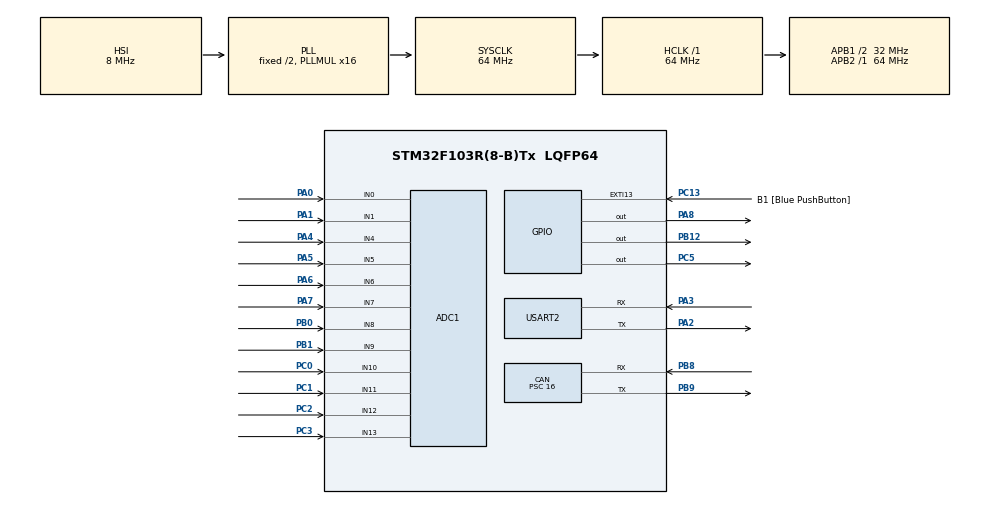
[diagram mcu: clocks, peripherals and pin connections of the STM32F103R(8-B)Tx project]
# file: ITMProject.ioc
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ADC1.Channel-1\#ChannelRegularConversion=ADC_CHANNEL_9
ADC1.Channel-10\#ChannelRegularConversion=ADC_CHANNEL_5
ADC1.Channel-11\#ChannelRegularConversion=ADC_CHANNEL_6
ADC1.Channel-12\#ChannelRegularConversion=ADC_CHANNEL_7
ADC1.Channel-2\#ChannelRegularConversion=ADC_CHANNEL_8
ADC1.Channel-3\#ChannelRegularConversion=ADC_CHANNEL_4
ADC1.Channel-4\#ChannelRegularConversion=ADC_CHANNEL_1
ADC1.Channel-5\#ChannelRegularConversion=ADC_CHANNEL_13
ADC1.Channel-6\#ChannelRegularConversion=ADC_CHANNEL_11
ADC1.Channel-7\#ChannelRegularConversion=ADC_CHANNEL_10
ADC1.Channel-8\#ChannelRegularConversion=ADC_CHANNEL_12
ADC1.Channel-9\#ChannelRegularConversion=ADC_CHANNEL_0
ADC1.ContinuousConvMode=ENABLE
ADC1.NbrOfConversion=12
ADC1.NbrOfConversionFlag=1
ADC1.Rank-1\#ChannelRegularConversion=1
ADC1.Rank-10\#ChannelRegularConversion=10
ADC1.Rank-11\#ChannelRegularConversion=11
ADC1.Rank-12\#ChannelRegularConversion=12
ADC1.Rank-2\#ChannelRegularConversion=2
ADC1.Rank-3\#ChannelRegularConversion=3
ADC1.Rank-4\#ChannelRegularConversion=4
ADC1.Rank-5\#ChannelRegularConversion=5
ADC1.Rank-6\#ChannelRegularConversion=6
ADC1.Rank-7\#ChannelRegularConversion=7
ADC1.Rank-8\#ChannelRegularConversion=8
ADC1.Rank-9\#ChannelRegularConversion=9
ADC1.SamplingTime-1\#ChannelRegularConversion=ADC_SAMPLETIME_1CYCLE_5
ADC1.SamplingTime-10\#ChannelRegularConversion=ADC_SAMPLETIME_1CYCLE_5
ADC1.SamplingTime-11\#ChannelRegularConversion=ADC_SAMPLETIME_1CYCLE_5
ADC1.SamplingTime-12\#ChannelRegularConversion=ADC_SAMPLETIME_1CYCLE_5
ADC1.SamplingTime-2\#ChannelRegularConversion=ADC_SAMPLETIME_1CYCLE_5
ADC1.SamplingTime-3\#ChannelRegularConversion=ADC_SAMPLETIME_1CYCLE_5
ADC1.SamplingTime-4\#ChannelRegularConversion=ADC_SAMPLETIME_1CYCLE_5
ADC1.SamplingTime-5\#ChannelRegularConversion=ADC_SAMPLETIME_1CYCLE_5
ADC1.SamplingTime-6\#ChannelRegularConversion=ADC_SAMPLETIME_1CYCLE_5
ADC1.SamplingTime-7\#ChannelRegularConversion=ADC_SAMPLETIME_1CYCLE_5
ADC1.SamplingTime-8\#ChannelRegularConversion=ADC_SAMPLETIME_1CYCLE_5
ADC1.SamplingTime-9\#ChannelRegularConversion=ADC_SAMPLETIME_1CYCLE_5
ADC1.master=1
CAN.ABOM=ENABLE
CAN.BS1=CAN_BS1_2TQ
CAN.CalculateBaudRate=500000
CAN.CalculateTimeBit=2000
CAN.CalculateTimeQuantum=500.0
CAN.Mode=CAN_MODE_NORMAL
CAN.Prescaler=16
Dma.ADC1.0.Direction=DMA_PERIPH_TO_MEMORY
Dma.ADC1.0.Instance=DMA1_Channel1
Dma.ADC1.0.MemDataAlignment=DMA_MDATAALIGN_WORD
Dma.ADC1.0.MemInc=DMA_MINC_ENABLE
Dma.ADC1.0.Mode=DMA_NORMAL
Dma.ADC1.0.PeriphDataAlignment=DMA_PDATAALIGN_WORD
Dma.ADC1.0.PeriphInc=DMA_PINC_DISABLE
Dma.ADC1.0.Priority=DMA_PRIORITY_LOW
Dma.Request0=ADC1
Mcu.Family=STM32F1
Mcu.Name=STM32F103R(8-B)Tx
Mcu.Package=LQFP64
NVIC.DMA1_Channel1_IRQn=true\:0\:0\:false\:false\:true\:false\:true\:true
NVIC.PriorityGroup=NVIC_PRIORITYGROUP_4
PA0-WKUP.Signal=ADCx_IN0
PA1.Signal=ADCx_IN1
PA13.GPIO_Label=TMS
PA13.Mode=Serial_Wire
PA13.Signal=SYS_JTMS-SWDIO
PA14.GPIO_Label=TCK
PA14.Mode=Serial_Wire
PA14.Signal=SYS_JTCK-SWCLK
PA2.Mode=Asynchronous
PA2.Signal=USART2_TX
PA3.Mode=Asynchronous
PA3.Signal=USART2_RX
PA4.Signal=ADCx_IN4
PA5.Signal=ADCx_IN5
PA6.Signal=ADCx_IN6
PA7.Signal=ADCx_IN7
PA8.Signal=GPIO_Output
PB0.Signal=ADCx_IN8
PB1.Signal=ADCx_IN9
PB12.GPIO_PuPd=GPIO_PULLDOWN
PB12.Signal=GPIO_Output
PB3.GPIO_Label=SWO
PB3.Signal=SYS_JTDO-TRACESWO
PB8.Mode=CAN_Activate
PB8.Signal=CAN_RX
PB9.Mode=CAN_Activate
PB9.Signal=CAN_TX
PC0.Signal=ADCx_IN10
PC1.Signal=ADCx_IN11
PC13-TAMPER-RTC.GPIO_Label=B1 [Blue PushButton]
PC13-TAMPER-RTC.GPIO_PuPd=GPIO_NOPULL
PC13-TAMPER-RTC.Signal=GPXTI13
PC14-OSC32_IN.Mode=LSE-External-Oscillator
PC14-OSC32_IN.Signal=RCC_OSC32_IN
PC15-OSC32_OUT.Mode=LSE-External-Oscillator
PC15-OSC32_OUT.Signal=RCC_OSC32_OUT
PC2.Signal=ADCx_IN12
PC3.Signal=ADCx_IN13
PC5.Signal=GPIO_Output
PD0-OSC_IN.Mode=HSE-External-Clock-Source
PD0-OSC_IN.Signal=RCC_OSC_IN
PD1-OSC_OUT.Mode=HSE-External-Clock-Source
PD1-OSC_OUT.Signal=RCC_OSC_OUT
ProjectManager.HeapSize=0x200
ProjectManager.StackSize=0x400
ProjectManager.TargetToolchain=STM32CubeIDE
RCC.ADCPresc=RCC_ADCPCLK2_DIV6
RCC.AHBFreq_Value=64000000
RCC.APB1CLKDivider=RCC_HCLK_DIV2
RCC.APB1Freq_Value=32000000
RCC.APB1TimFreq_Value=64000000
RCC.APB2Freq_Value=64000000
RCC.APB2TimFreq_Value=64000000
RCC.HCLKFreq_Value=64000000
RCC.PLLMUL=RCC_PLL_MUL16
RCC.RTCClockSelection=RCC_RTCCLKSOURCE_LSE
RCC.SYSCLKFreq_VALUE=64000000
RCC.SYSCLKSource=RCC_SYSCLKSOURCE_PLLCLK
RCC.USBFreq_Value=64000000
SH.ADCx_IN0.0=ADC1_IN0,IN0
SH.ADCx_IN1.0=ADC1_IN1,IN1
SH.ADCx_IN10.0=ADC1_IN10,IN10
SH.ADCx_IN11.0=ADC1_IN11,IN11
SH.ADCx_IN12.0=ADC1_IN12,IN12
SH.ADCx_IN13.0=ADC1_IN13,IN13
SH.ADCx_IN4.0=ADC1_IN4,IN4
SH.ADCx_IN5.0=ADC1_IN5,IN5
SH.ADCx_IN6.0=ADC1_IN6,IN6
SH.ADCx_IN7.0=ADC1_IN7,IN7
SH.ADCx_IN8.0=ADC1_IN8,IN8
SH.ADCx_IN9.0=ADC1_IN9,IN9
USART2.VirtualMode=VM_ASYNC
board=NUCLEO-F103RB

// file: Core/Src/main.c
/* USER CODE BEGIN Header */
/**
  ******************************************************************************
  * @file           : main.c
  * @brief          : Main program body
  ******************************************************************************
  * @attention
  *
  * Copyright (c) 2023 STMicroelectronics.
  * All rights reserved.
  *
  * This software is licensed under terms that can be found in the LICENSE file
  * in the root directory of this software component.
  * If no LICENSE file comes with this software, it is provided AS-IS.
  *
  ******************************************************************************
  */
/* USER CODE END Header */
#include "main.h"

ADC_HandleTypeDef hadc1;
DMA_HandleTypeDef hdma_adc1;

CAN_HandleTypeDef hcan;

UART_HandleTypeDef huart2;

/* USER CODE BEGIN PV */
CAN_TxHeaderTypeDef TxHeader_bms;
CAN_TxHeaderTypeDef TxHeader_rpi;

/* USER CODE END PV */

void SystemClock_Config(void);
static void MX_GPIO_Init(void);
static void MX_DMA_Init(void);
static void MX_USART2_UART_Init(void);
static void MX_ADC1_Init(void);
static void MX_CAN_Init(void);

int main(void)
{
  /* USER CODE BEGIN 1 */
  uint8_t TxData_bms[8] = {0};
//  uint8_t TxData_rpi[8] = {0};

  uint32_t raw_ADC_output[23] = {0};
  int16_t temperature[23] = {0};
  uint16_t error_index[23] = {0};

  uint16_t therm_count = 0;
  uint16_t therms_failed = 0;
  int16_t current_lowest_temp = HIGHEST_TEMP;
  int16_t current_highest_temp = LOWEST_TEMP;
  int16_t current_average_temp = 0;

  char msgBuffer[100] = {0};

  /* USER CODE END 1 */

  /* MCU Configuration--------------------------------------------------------*/

  /* Reset of all peripherals, Initializes the Flash interface and the Systick. */
  HAL_Init();

  /* Configure the system clock */
  SystemClock_Config();

  /* Initialize all configured peripherals */
  MX_GPIO_Init();
  MX_DMA_Init();
  MX_USART2_UART_Init();
  MX_ADC1_Init();
  MX_CAN_Init();
  /* USER CODE BEGIN 2 */
  uint32_t TxMailbox = CAN_TX_MAILBOX0;

  TxData_bms[0] = MODULE_NUMBER - 1;
  TxData_bms[4] = THERMISTORS_ENABLED;
  TxData_bms[5] = HIGHEST_THERM_ID;
  TxData_bms[6] = LOWEST_THERM_ID;
  TxData_bms[7] = CHECK_SUM;

//  TxData_rpi[0] = MODULE_NUMBER;

  /* USER CODE END 2 */

  /* Infinite loop */
  /* USER CODE BEGIN WHILE */
  while (1)
  {
	// Resetting values every loop
	current_lowest_temp = HIGHEST_TEMP;
	current_highest_temp = LOWEST_TEMP;
	current_average_temp = 0;
	therms_failed = 0;
	memset(error_index, 0, sizeof(error_index));
	HAL_GPIO_WritePin(GPIOC, GPIO_PIN_5, GPIO_PIN_RESET);

	if(HAL_GPIO_ReadPin(GPIOA, GPIO_PIN_8) == GPIO_PIN_RESET)
	{
		HAL_ADC_Start_DMA(&hadc1, raw_ADC_output, 12);
		for(int i = 0; i < 12; i++)
		{
      //Implement an IIR filter as specified in ADBMS6830 datasheet
			temperature[i] = temperature[i] + ((binary_search(raw_ADC_output[i]) - temperature[i]) / (float)FILTER_PARAMETER);
			if(temperature[i] <= -41) // Faulty thermistor
			{
				error_index[i] = 1;
				therms_failed++;
			}
			else if(temperature[i] >= 60) // Battery too hot shut car down
			{
				TxData_bms[4] = 0x80 + THERMISTORS_ENABLED;
			}
			else // Temperature in range
			{
				current_average_temp += temperature[i];
				if(temperature[i] < current_lowest_temp)
				{
					current_lowest_temp = temperature[i];
				}
				if(temperature[i] > current_highest_temp)
				{
					current_highest_temp = temperature[i];
				}
			}
			// Lines below are for testing
			memset(msgBuffer, '\0', 100);
			sprintf(msgBuffer, "ADC_read_%d: %ld temperature_%d: %d\r\n", i, raw_ADC_output[i], i, temperature[i]);
			HAL_UART_Transmit(&huart2, (uint8_t*)msgBuffer, strlen(msgBuffer), HAL_MAX_DELAY);
		}
		HAL_ADC_Stop_DMA(&hadc1);
		HAL_GPIO_WritePin(GPIOA, GPIO_PIN_8, GPIO_PIN_SET);
	}

	if(HAL_GPIO_ReadPin(GPIOA, GPIO_PIN_8) == GPIO_PIN_SET)
	{
		HAL_ADC_Start_DMA(&hadc1, &raw_ADC_output[12], 11);
		for(int i = 12; i < 23; i++)
		{
      //Implement an IIR filter as specified in ADBMS6830 datasheet
			temperature[i] = temperature[i] + ((binary_search(raw_ADC_output[i]) - temperature[i]) / (float)FILTER_PARAMETER);
			if(temperature[i] <= -41) // Faulty thermistor
			{
				therms_failed++;
				error_index[i] = 1;
			}
			else if(temperature[i] >= 60) // Battery too hot shut car down
			{
				TxData_bms[4] = 0x80 + THERMISTORS_ENABLED;
			}
			else // Temperature in range
			{
				current_average_temp += temperature[i];
				if(temperature[i] < current_lowest_temp)
				{
					current_lowest_temp = temperature[i];
				}
				if(temperature[i] > current_highest_temp)
				{
					current_highest_temp = temperature[i];
				}
			}
			// Lines below are for testing
			memset(msgBuffer, '\0', 100);
			sprintf(msgBuffer, "ADC_read_%d: %ld temperature_%d: %d\r\n", i, raw_ADC_output[i], i, temperature[i]);
			HAL_UART_Transmit(&huart2, (uint8_t*)msgBuffer, strlen(msgBuffer), HAL_MAX_DELAY);
		}
		HAL_ADC_Stop_DMA(&hadc1);
		HAL_GPIO_WritePin(GPIOA, GPIO_PIN_8, GPIO_PIN_RESET);
	}

	/*
	 * FSAE rules states you must be monitoring at least 20%
	 * of thermistors. Currently monitoring 115, if 35 of those
	 * fault due to a bad wire the car must shut down. Since 115 is
	 * split between 5 boards if one detects at least 7 then it shuts down.
	 * */
	if(therms_failed >= 7)
	{
		TxData_bms[4] = 0x80 + THERMISTORS_ENABLED;
	}

	/*
	 * THERMISTORS_ENABLED - therms_failed because discard any faulted therm values if therms
	 * failed is below 7 and only taking average of therms that are in range.
	 * */
	current_average_temp = (current_average_temp / (THERMISTORS_ENABLED - therms_failed));

	TxData_bms[1] = current_lowest_temp;
	TxData_bms[2] = current_highest_temp;
	TxData_bms[3] = current_average_temp;
	TxData_bms[7] = CHECK_SUM;

	// Completing checksum
	for (int i = 0; i < 7; i++) {
		TxData_bms[7] += TxData_bms[i];
	}

	therm_count++;
	if(therm_count == 23) {
		therm_count = 0;
	}

	if(HAL_CAN_GetTxMailboxesFreeLevel(&hcan) > 0)
	{
		if(HAL_CAN_AddTxMessage(&hcan, &TxHeader_bms, TxData_bms, &TxMailbox) != HAL_OK) {
			memset(msgBuffer, '\0', 100);
			strcat(msgBuffer, "Failed to send CAN message\r\n");
			HAL_UART_Transmit(&huart2, (uint8_t*)msgBuffer, strlen(msgBuffer), HAL_MAX_DELAY);
		}
		else {
			memset(msgBuffer, '\0', 100);
			strcat(msgBuffer, "CAN Message Sent\r\n");
			HAL_UART_Transmit(&huart2, (uint8_t*)msgBuffer, strlen(msgBuffer), HAL_MAX_DELAY);
			HAL_GPIO_WritePin(GPIOC, GPIO_PIN_5, GPIO_PIN_SET);
		}
	}

	// Messages for rpi dashboard
	// 4 messages 1: 0-5 2: 6-11 3: 12 - 17 4: 18 - 22
//	if(HAL_CAN_GetTxMailboxesFreeLevel(&hcan) > 0)
//	{
//		for (int i = 0; i < 4; i++) {
//			TxData_rpi[1] = ((MODULE_NUMBER - 1) * 23) + (i * 6);
//			TxData_rpi[2] = temperature[(i * 6)];
//			TxData_rpi[3] = temperature[(i * 6) + 1];
//			TxData_rpi[4] = temperature[(i * 6) + 2];
//			TxData_rpi[5] = temperature[(i * 6) + 3];
//			TxData_rpi[6] = temperature[(i * 6) + 4];
//			TxData_rpi[7] = temperature[(i * 6) + 5];
//			//Printing for testing purposes
//			for(int i = 0; i < 8; i++)
//			{
//				memset(msgBuffer, '\0', 100);
//				sprintf(msgBuffer, "TxData_rpi[%d] = %d\r\n", i, TxData_rpi[i]);
//				HAL_UART_Transmit(&huart2, (uint8_t*)msgBuffer, strlen(msgBuffer), HAL_MAX_DELAY);
//			}
//			if(HAL_CAN_AddTxMessage(&hcan, &TxHeader_rpi, TxData_rpi, &TxMailbox) != HAL_OK) {
//				memset(msgBuffer, '\0', 100);
//				strcat(msgBuffer, "Failed to send CAN message\r\n");
//				HAL_UART_Transmit(&huart2, (uint8_t*)msgBuffer, strlen(msgBuffer), HAL_MAX_DELAY);
//			}
//			else {
////				memset(msgBuffer, '\0', 100);
////				strcat(msgBuffer, "CAN Message Sent\r\n");
////				HAL_UART_Transmit(&huart2, (uint8_t*)msgBuffer, strlen(msgBuffer), HAL_MAX_DELAY);
//			}
//		}
//	}

	HAL_Delay(17);

    /* USER CODE END WHILE */

	}
}

void SystemClock_Config(void)
{
  RCC_OscInitTypeDef RCC_OscInitStruct = {0};
  RCC_ClkInitTypeDef RCC_ClkInitStruct = {0};
  RCC_PeriphCLKInitTypeDef PeriphClkInit = {0};

  /** Initializes the RCC Oscillators according to the specified parameters
  * in the RCC_OscInitTypeDef structure.
  */
  RCC_OscInitStruct.OscillatorType = RCC_OSCILLATORTYPE_HSI;
  RCC_OscInitStruct.HSIState = RCC_HSI_ON;
  RCC_OscInitStruct.HSICalibrationValue = RCC_HSICALIBRATION_DEFAULT;
  RCC_OscInitStruct.PLL.PLLState = RCC_PLL_ON;
  RCC_OscInitStruct.PLL.PLLSource = RCC_PLLSOURCE_HSI_DIV2;
  RCC_OscInitStruct.PLL.PLLMUL = RCC_PLL_MUL16;
  if (HAL_RCC_OscConfig(&RCC_OscInitStruct) != HAL_OK)
  {
    Error_Handler();
  }

  /** Initializes the CPU, AHB and APB buses clocks
  */
  RCC_ClkInitStruct.ClockType = RCC_CLOCKTYPE_HCLK|RCC_CLOCKTYPE_SYSCLK
                              |RCC_CLOCKTYPE_PCLK1|RCC_CLOCKTYPE_PCLK2;
  RCC_ClkInitStruct.SYSCLKSource = RCC_SYSCLKSOURCE_PLLCLK;
  RCC_ClkInitStruct.AHBCLKDivider = RCC_SYSCLK_DIV1;
  RCC_ClkInitStruct.APB1CLKDivider = RCC_HCLK_DIV2;
  RCC_ClkInitStruct.APB2CLKDivider = RCC_HCLK_DIV1;

  if (HAL_RCC_ClockConfig(&RCC_ClkInitStruct, FLASH_LATENCY_2) != HAL_OK)
  {
    Error_Handler();
  }
  PeriphClkInit.PeriphClockSelection = RCC_PERIPHCLK_ADC;
  PeriphClkInit.AdcClockSelection = RCC_ADCPCLK2_DIV6;
  if (HAL_RCCEx_PeriphCLKConfig(&PeriphClkInit) != HAL_OK)
  {
    Error_Handler();
  }
}

static void MX_ADC1_Init(void)
{

  ADC_ChannelConfTypeDef sConfig = {0};

  /** Common config
  */
  hadc1.Instance = ADC1;
  hadc1.Init.ScanConvMode = ADC_SCAN_ENABLE;
  hadc1.Init.ContinuousConvMode = ENABLE;
  hadc1.Init.DiscontinuousConvMode = DISABLE;
  hadc1.Init.ExternalTrigConv = ADC_SOFTWARE_START;
  hadc1.Init.DataAlign = ADC_DATAALIGN_RIGHT;
  hadc1.Init.NbrOfConversion = 12;
  if (HAL_ADC_Init(&hadc1) != HAL_OK)
  {
    Error_Handler();
  }

  HAL_ADCEx_Calibration_Start(&hadc1);

  /** Configure Regular Channel
  */
  sConfig.Channel = ADC_CHANNEL_9;
  sConfig.Rank = ADC_REGULAR_RANK_1;
  sConfig.SamplingTime = ADC_SAMPLETIME_1CYCLE_5;
  if (HAL_ADC_ConfigChannel(&hadc1, &sConfig) != HAL_OK)
  {
    Error_Handler();
  }

  /** Configure Regular Channel
  */
  sConfig.Channel = ADC_CHANNEL_8;
  sConfig.Rank = ADC_REGULAR_RANK_2;
  if (HAL_ADC_ConfigChannel(&hadc1, &sConfig) != HAL_OK)
  {
    Error_Handler();
  }

  /** Configure Regular Channel
  */
  sConfig.Channel = ADC_CHANNEL_4;
  sConfig.Rank = ADC_REGULAR_RANK_3;
  if (HAL_ADC_ConfigChannel(&hadc1, &sConfig) != HAL_OK)
  {
    Error_Handler();
  }

  /** Configure Regular Channel
  */
  sConfig.Channel = ADC_CHANNEL_1;
  sConfig.Rank = ADC_REGULAR_RANK_4;
  if (HAL_ADC_ConfigChannel(&hadc1, &sConfig) != HAL_OK)
  {
    Error_Handler();
  }

  /** Configure Regular Channel
  */
  sConfig.Channel = ADC_CHANNEL_13;
  sConfig.Rank = ADC_REGULAR_RANK_5;
  if (HAL_ADC_ConfigChannel(&hadc1, &sConfig) != HAL_OK)
  {
    Error_Handler();
  }

  /** Configure Regular Channel
  */
  sConfig.Channel = ADC_CHANNEL_11;
  sConfig.Rank = ADC_REGULAR_RANK_6;
  if (HAL_ADC_ConfigChannel(&hadc1, &sConfig) != HAL_OK)
  {
    Error_Handler();
  }

  /** Configure Regular Channel
  */
  sConfig.Channel = ADC_CHANNEL_10;
  sConfig.Rank = ADC_REGULAR_RANK_7;
  if (HAL_ADC_ConfigChannel(&hadc1, &sConfig) != HAL_OK)
  {
    Error_Handler();
  }

  /** Configure Regular Channel
  */
  sConfig.Channel = ADC_CHANNEL_12;
  sConfig.Rank = ADC_REGULAR_RANK_8;
  if (HAL_ADC_ConfigChannel(&hadc1, &sConfig) != HAL_OK)
  {
    Error_Handler();
  }

  /** Configure Regular Channel
  */
  sConfig.Channel = ADC_CHANNEL_0;
  sConfig.Rank = ADC_REGULAR_RANK_9;
  if (HAL_ADC_ConfigChannel(&hadc1, &sConfig) != HAL_OK)
  {
    Error_Handler();
  }

  /** Configure Regular Channel
  */
  sConfig.Channel = ADC_CHANNEL_5;
  sConfig.Rank = ADC_REGULAR_RANK_10;
  if (HAL_ADC_ConfigChannel(&hadc1, &sConfig) != HAL_OK)
  {
    Error_Handler();
  }

  /** Configure Regular Channel
  */
  sConfig.Channel = ADC_CHANNEL_6;
  sConfig.Rank = ADC_REGULAR_RANK_11;
  if (HAL_ADC_ConfigChannel(&hadc1, &sConfig) != HAL_OK)
  {
    Error_Handler();
  }

  /** Configure Regular Channel
  */
  sConfig.Channel = ADC_CHANNEL_7;
  sConfig.Rank = ADC_REGULAR_RANK_12;
  if (HAL_ADC_ConfigChannel(&hadc1, &sConfig) != HAL_OK)
  {
    Error_Handler();
  }

}

static void MX_CAN_Init(void)
{

  hcan.Instance = CAN1;
  hcan.Init.Prescaler = 16;
  hcan.Init.Mode = CAN_MODE_NORMAL;
  hcan.Init.SyncJumpWidth = CAN_SJW_1TQ;
  hcan.Init.TimeSeg1 = CAN_BS1_2TQ;
  hcan.Init.TimeSeg2 = CAN_BS2_1TQ;
  hcan.Init.TimeTriggeredMode = DISABLE;
  hcan.Init.AutoBusOff = ENABLE;
  hcan.Init.AutoWakeUp = DISABLE;
  hcan.Init.AutoRetransmission = DISABLE;
  hcan.Init.ReceiveFifoLocked = DISABLE;
  hcan.Init.TransmitFifoPriority = DISABLE;
  if (HAL_CAN_Init(&hcan) != HAL_OK)
  {
    Error_Handler();
  }
  /* USER CODE BEGIN CAN_Init 2 */

  	CAN_FilterTypeDef canfilterconfig;

    canfilterconfig.FilterActivation = ENABLE;
    canfilterconfig.FilterBank = 0;
    canfilterconfig.FilterFIFOAssignment = CAN_RX_FIFO0;
    canfilterconfig.FilterIdHigh = 0x0000;
    canfilterconfig.FilterIdLow = 0x0000;
    canfilterconfig.FilterMaskIdHigh = 0x0000;
    canfilterconfig.FilterMaskIdLow = 0x0000;
    canfilterconfig.FilterMode = CAN_FILTERMODE_IDMASK;
    canfilterconfig.FilterScale = CAN_FILTERSCALE_16BIT;
    canfilterconfig.SlaveStartFilterBank = 0;

    if(HAL_CAN_ConfigFilter(&hcan, &canfilterconfig) != HAL_OK)
    {
    	Error_Handler();
    }

    if(HAL_CAN_Start(&hcan) != HAL_OK)
    {
  	  Error_Handler();
    }

    TxHeader_bms.DLC = 8; // Data length
    TxHeader_bms.IDE = CAN_ID_EXT; // Specifies a standard identifier for the header
    TxHeader_bms.RTR = CAN_RTR_DATA; // Specifies the type of frame in this case a data frame
    TxHeader_bms.StdId = 0x00; // ID of the sender
    TxHeader_bms.ExtId = BMS_ID;
    TxHeader_bms.TransmitGlobalTime = DISABLE;

    TxHeader_rpi.DLC = 8; // Data length
	TxHeader_rpi.IDE = CAN_ID_STD; // Specifies a standard identifier for the header
	TxHeader_rpi.RTR = CAN_RTR_DATA; // Specifies the type of frame in this case a data frame
	TxHeader_rpi.StdId = MODULE_NUMBER; // ID of the sender
	TxHeader_rpi.ExtId = 0x00;
	TxHeader_rpi.TransmitGlobalTime = DISABLE;

  /* USER CODE END CAN_Init 2 */

}

static void MX_USART2_UART_Init(void)
{

  huart2.Instance = USART2;
  huart2.Init.BaudRate = 115200;
  huart2.Init.WordLength = UART_WORDLENGTH_8B;
  huart2.Init.StopBits = UART_STOPBITS_1;
  huart2.Init.Parity = UART_PARITY_NONE;
  huart2.Init.Mode = UART_MODE_TX_RX;
  huart2.Init.HwFlowCtl = UART_HWCONTROL_NONE;
  huart2.Init.OverSampling = UART_OVERSAMPLING_16;
  if (HAL_UART_Init(&huart2) != HAL_OK)
  {
    Error_Handler();
  }

}

static void MX_DMA_Init(void)
{

  /* DMA controller clock enable */
  __HAL_RCC_DMA1_CLK_ENABLE();

  /* DMA interrupt init */
  /* DMA1_Channel1_IRQn interrupt configuration */
  HAL_NVIC_SetPriority(DMA1_Channel1_IRQn, 0, 0);
  HAL_NVIC_EnableIRQ(DMA1_Channel1_IRQn);

}

static void MX_GPIO_Init(void)
{
  GPIO_InitTypeDef GPIO_InitStruct = {0};

  /* GPIO Ports Clock Enable */
  __HAL_RCC_GPIOC_CLK_ENABLE();
  __HAL_RCC_GPIOD_CLK_ENABLE();
  __HAL_RCC_GPIOA_CLK_ENABLE();
  __HAL_RCC_GPIOB_CLK_ENABLE();

  /*Configure GPIO pin Output Level */
  HAL_GPIO_WritePin(GPIOC, GPIO_PIN_5, GPIO_PIN_RESET);

  /*Configure GPIO pin Output Level */
  HAL_GPIO_WritePin(GPIOB, GPIO_PIN_12, GPIO_PIN_RESET);

  /*Configure GPIO pin Output Level */
  HAL_GPIO_WritePin(GPIOA, GPIO_PIN_8, GPIO_PIN_RESET);

  /*Configure GPIO pin : B1_Pin */
  GPIO_InitStruct.Pin = B1_Pin;
  GPIO_InitStruct.Mode = GPIO_MODE_IT_RISING;
  GPIO_InitStruct.Pull = GPIO_NOPULL;
  HAL_GPIO_Init(B1_GPIO_Port, &GPIO_InitStruct);

  /*Configure GPIO pin : PC5 */
  GPIO_InitStruct.Pin = GPIO_PIN_5;
  GPIO_InitStruct.Mode = GPIO_MODE_OUTPUT_PP;
  GPIO_InitStruct.Pull = GPIO_NOPULL;
  GPIO_InitStruct.Speed = GPIO_SPEED_FREQ_LOW;
  HAL_GPIO_Init(GPIOC, &GPIO_InitStruct);

  /*Configure GPIO pin : PB12 */
  GPIO_InitStruct.Pin = GPIO_PIN_12;
  GPIO_InitStruct.Mode = GPIO_MODE_OUTPUT_PP;
  GPIO_InitStruct.Pull = GPIO_PULLDOWN;
  GPIO_InitStruct.Speed = GPIO_SPEED_FREQ_LOW;
  HAL_GPIO_Init(GPIOB, &GPIO_InitStruct);

  /*Configure GPIO pin : PA8 */
  GPIO_InitStruct.Pin = GPIO_PIN_8;
  GPIO_InitStruct.Mode = GPIO_MODE_OUTPUT_PP;
  GPIO_InitStruct.Pull = GPIO_NOPULL;
  GPIO_InitStruct.Speed = GPIO_SPEED_FREQ_LOW;
  HAL_GPIO_Init(GPIOA, &GPIO_InitStruct);

}

void Error_Handler(void)
{
  /* USER CODE BEGIN Error_Handler_Debug */
  char msgBuffer[100] = {0};
  /* User can add his own implementation to report the HAL error return state */
  __disable_irq();
  while (1)
  {
	  memset(msgBuffer, '\0', 100);
	  strcat(msgBuffer, "In error handler\r\n");
	  HAL_UART_Transmit(&huart2, (uint8_t*)msgBuffer, strlen(msgBuffer), HAL_MAX_DELAY);
  }
  /* USER CODE END Error_Handler_Debug */
}
